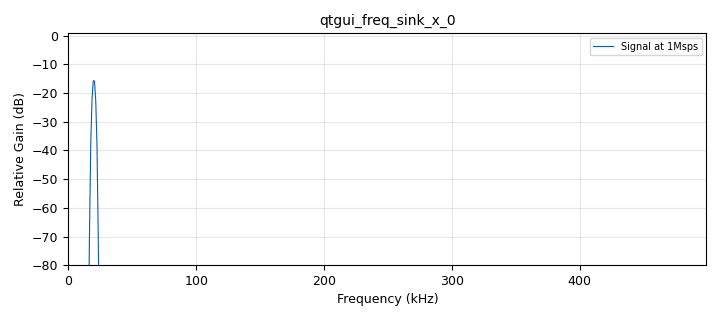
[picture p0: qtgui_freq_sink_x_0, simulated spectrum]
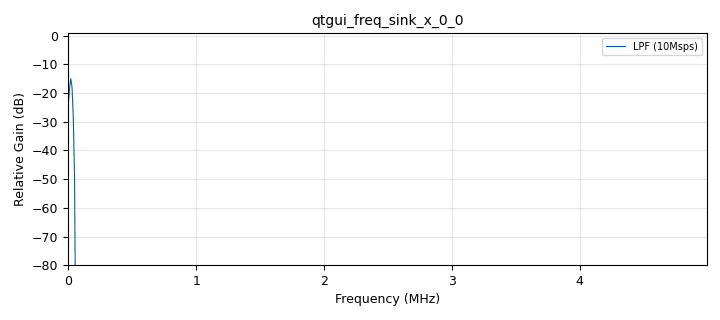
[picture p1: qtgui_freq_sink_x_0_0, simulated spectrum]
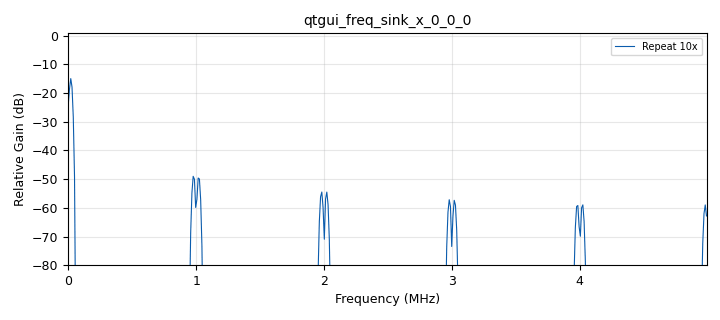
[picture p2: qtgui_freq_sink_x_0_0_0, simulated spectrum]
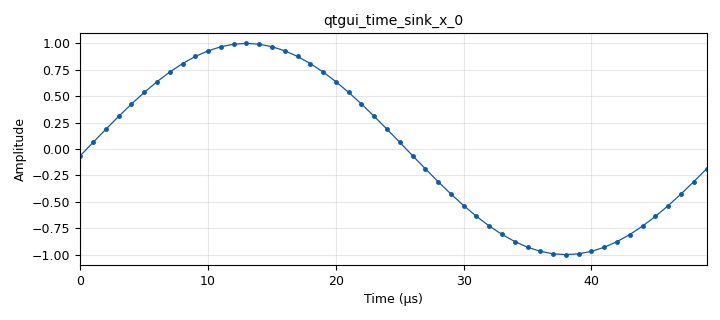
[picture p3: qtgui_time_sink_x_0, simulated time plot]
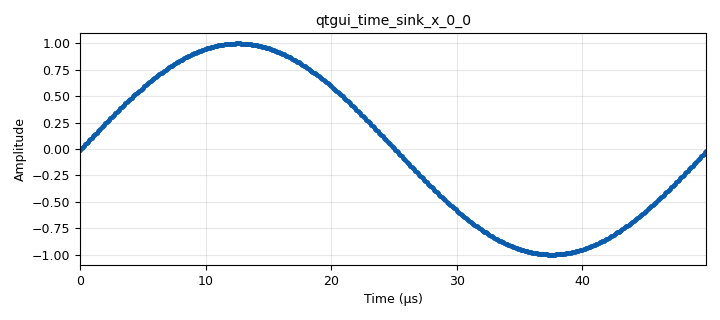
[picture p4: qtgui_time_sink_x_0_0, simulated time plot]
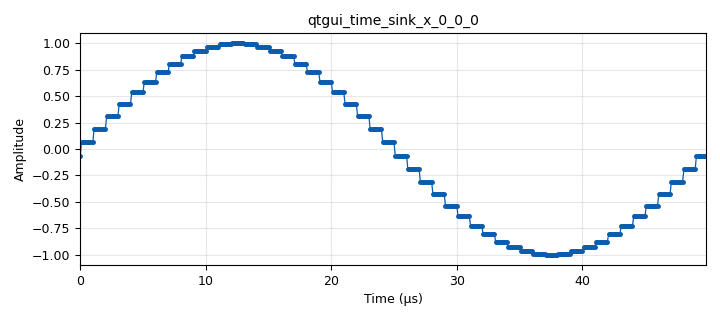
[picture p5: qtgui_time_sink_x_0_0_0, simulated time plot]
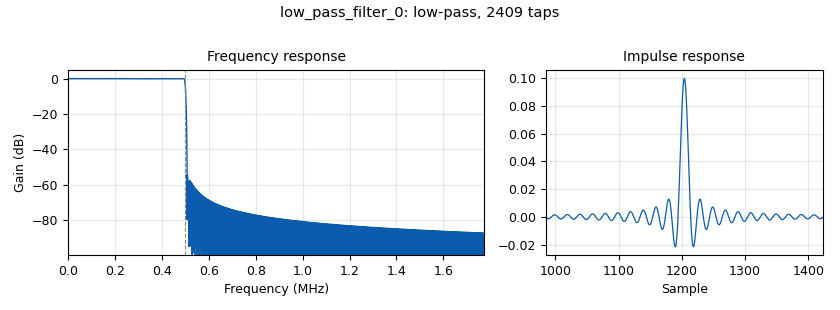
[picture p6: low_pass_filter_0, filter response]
options:
  parameters:
    author: jason
    generate_options: qt_gui
    id: basicSDR
    output_language: python
    title: Sampling
  states: {}

blocks:
- name: freq_kHz
  id: variable_qtgui_range
  parameters:
    gui_hint: 0,0,1,2
    label: Frequency (kHz)
    orient: Qt.Horizontal
    start: '0'
    step: '1'
    stop: 1.5e3
    value: '20'
  states: {}
- name: repeat
  id: variable
  parameters:
    value: '10'
  states: {}
- name: samp_rate
  id: variable
  parameters:
    value: 1e6
  states: {}
- name: analog_sig_source_x_0
  id: analog_sig_source_x
  parameters:
    amp: '1'
    comment: cos(ωt)
    freq: freq_kHz*1000
    offset: '0'
    phase: '0'
    samp_rate: samp_rate
    type: float
    waveform: analog.GR_COS_WAVE
  states: {}
- name: blocks_repeat_0
  id: blocks_repeat
  parameters:
    comment: |-
      simulate 
      analog-to-digital 
      converter
    interp: repeat
    type: float
  states: {}
- name: blocks_throttle_0
  id: blocks_throttle
  parameters:
    samples_per_second: samp_rate
    type: float
  states: {}
- name: interp_fir_filter_xxx_0
  id: interp_fir_filter_xxx
  parameters:
    comment: a better way to interpolate
    interp: '10'
    taps: '[10,0,0,0,0,0,0,0,0,0]'
    type: fff
  states: {state: disabled}
- name: low_pass_filter_0
  id: low_pass_filter
  parameters:
    comment: keep only the fundamental
    cutoff_freq: samp_rate/2
    gain: '1'
    interp: '1'
    samp_rate: samp_rate*repeat
    type: interp_fir_filter_fff
    width: samp_rate/100
    win: firdes.WIN_HAMMING
  states: {}
- name: qtgui_freq_sink_x_0
  id: qtgui_freq_sink_x
  parameters:
    bw: samp_rate
    fc: '0'
    fftsize: '1024'
    freqhalf: 'False'
    gui_hint: 1,1,3,1
    label1: Signal at 1Msps
    name: ''
    type: float
    wintype: firdes.WIN_BLACKMAN_hARRIS
    ymax: '1'
    ymin: '-80'
  states: {}
- name: qtgui_freq_sink_x_0_0
  id: qtgui_freq_sink_x
  parameters:
    bw: samp_rate*repeat
    fc: '0'
    fftsize: '1024'
    freqhalf: 'False'
    gui_hint: 7,1,3,1
    label1: LPF (10Msps)
    type: float
    wintype: firdes.WIN_BLACKMAN_hARRIS
    ymax: '1'
    ymin: '-80'
  states: {}
- name: qtgui_freq_sink_x_0_0_0
  id: qtgui_freq_sink_x
  parameters:
    bw: samp_rate*repeat
    fc: '0'
    fftsize: '1024'
    freqhalf: 'False'
    gui_hint: 4,1,3,1
    label1: Repeat 10x
    type: float
    wintype: firdes.WIN_BLACKMAN_hARRIS
    ymax: '1'
    ymin: '-80'
  states: {}
- name: qtgui_time_sink_x_0
  id: qtgui_time_sink_x
  parameters:
    entags: 'False'
    gui_hint: 1,0,3,1
    label1: ' '
    marker1: '0'
    name: ''
    size: '50'
    srate: samp_rate
    tr_mode: qtgui.TRIG_MODE_AUTO
    type: float
    ymax: '1.1'
    ymin: '-1.1'
  states: {}
- name: qtgui_time_sink_x_0_0
  id: qtgui_time_sink_x
  parameters:
    gui_hint: 7,0,3,1
    label1: ' '
    marker1: '0'
    size: 50*repeat
    srate: samp_rate*repeat
    tr_mode: qtgui.TRIG_MODE_AUTO
    type: float
    ymax: '1.1'
    ymin: '-1.1'
  states: {}
- name: qtgui_time_sink_x_0_0_0
  id: qtgui_time_sink_x
  parameters:
    gui_hint: 4,0,3,1
    label1: ' '
    marker1: '0'
    size: 50*repeat
    srate: samp_rate*repeat
    tr_mode: qtgui.TRIG_MODE_AUTO
    type: float
    ymax: '1.1'
    ymin: '-1.1'
  states: {}

connections:
- [analog_sig_source_x_0, '0', blocks_throttle_0, '0']
- [blocks_repeat_0, '0', low_pass_filter_0, '0']
- [blocks_repeat_0, '0', qtgui_freq_sink_x_0_0_0, '0']
- [blocks_repeat_0, '0', qtgui_time_sink_x_0_0_0, '0']
- [blocks_throttle_0, '0', blocks_repeat_0, '0']
- [blocks_throttle_0, '0', interp_fir_filter_xxx_0, '0']
- [blocks_throttle_0, '0', qtgui_freq_sink_x_0, '0']
- [blocks_throttle_0, '0', qtgui_time_sink_x_0, '0']
- [interp_fir_filter_xxx_0, '0', low_pass_filter_0, '0']
- [interp_fir_filter_xxx_0, '0', qtgui_freq_sink_x_0_0_0, '0']
- [interp_fir_filter_xxx_0, '0', qtgui_time_sink_x_0_0_0, '0']
- [low_pass_filter_0, '0', qtgui_freq_sink_x_0_0, '0']
- [low_pass_filter_0, '0', qtgui_time_sink_x_0_0, '0']

metadata:
  file_format: 1
